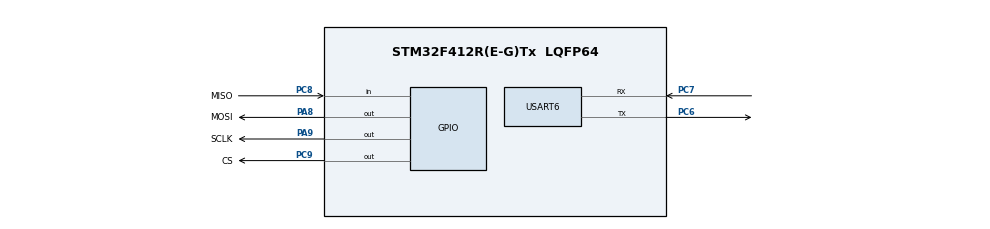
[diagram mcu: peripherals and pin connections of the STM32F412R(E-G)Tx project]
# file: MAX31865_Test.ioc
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Mcu.Family=STM32F4
Mcu.Name=STM32F412R(E-G)Tx
Mcu.Package=LQFP64
NVIC.PriorityGroup=NVIC_PRIORITYGROUP_4
PA13.Mode=Serial_Wire
PA13.Signal=SYS_JTMS-SWDIO
PA14.Mode=Serial_Wire
PA14.Signal=SYS_JTCK-SWCLK
PA8.GPIO_Label=MOSI
PA8.Signal=GPIO_Output
PA9.GPIO_Label=SCLK
PA9.Signal=GPIO_Output
PC6.Mode=Asynchronous
PC6.Signal=USART6_TX
PC7.Mode=Asynchronous
PC7.Signal=USART6_RX
PC8.GPIO_Label=MISO
PC8.Signal=GPIO_Input
PC9.GPIO_Label=CS
PC9.Signal=GPIO_Output
PH0\ -\ OSC_IN.Mode=HSE-External-Oscillator
PH0\ -\ OSC_IN.Signal=RCC_OSC_IN
PH1\ -\ OSC_OUT.Mode=HSE-External-Oscillator
PH1\ -\ OSC_OUT.Signal=RCC_OSC_OUT
ProjectManager.HeapSize=0x200
ProjectManager.StackSize=0x400
ProjectManager.TargetToolchain=STM32CubeIDE
RCC.CortexFreq_Value=16000000
RCC.USBFreq_Value=96000000
RCC.VCOOutputFreq_Value=192000000
USART6.VirtualMode=VM_ASYNC
board=custom

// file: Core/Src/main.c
/* USER CODE BEGIN Header */
/**
  ******************************************************************************
  * @file           : main.c
  * @brief          : Main program body
  ******************************************************************************
  * @attention
  *
  * Copyright (c) 2023 STMicroelectronics.
  * All rights reserved.
  *
  * This software is licensed under terms that can be found in the LICENSE file
  * in the root directory of this software component.
  * If no LICENSE file comes with this software, it is provided AS-IS.
  *
  ******************************************************************************
  */
/* USER CODE END Header */
#include "main.h"

/* USER CODE BEGIN Includes */
#include "MAX31865.h"
#include <stdio.h>
#include <string.h>
/* USER CODE END Includes */

/* USER CODE BEGIN PTD */
union USART_DATA
{
	char String[8];
	float Number;
}Data;
/* USER CODE END PTD */

UART_HandleTypeDef huart6;

void SystemClock_Config(void);
static void MX_GPIO_Init(void);
static void MX_USART6_UART_Init(void);
/* USER CODE BEGIN PFP */
MAX31865_GPIO *gpio;
/* USER CODE END PFP */

int main(void)
{

  /* MCU Configuration--------------------------------------------------------*/

  /* Reset of all peripherals, Initializes the Flash interface and the Systick. */
  HAL_Init();

  /* Configure the system clock */
  SystemClock_Config();

  /* Initialize all configured peripherals */
  MX_GPIO_Init();
  MX_USART6_UART_Init();
  /* USER CODE BEGIN 2 */
  gpio->CE_PIN = CS_Pin;
  gpio->CE_PORT = CS_GPIO_Port;

  gpio->CLK_PIN = SCLK_Pin;
  gpio->CLK_PORT = SCLK_GPIO_Port;

  gpio->MISO_PIN = MISO_Pin;
  gpio->MISO_PORT = MISO_GPIO_Port;

  gpio->MOSI_PIN = MOSI_Pin;
  gpio->MOSI_PORT = MOSI_GPIO_Port;

  MAX31865_init(gpio,3);
  HAL_UART_Init(&huart6);

  float Temperature = 0;
  /* USER CODE END 2 */
  char String[12];
  /* Infinite loop */
  while (1)
  {
	  Temperature = MAX31865_readTemp();
	  Data.Number = Temperature;

	  sprintf(String,"%f",Temperature);
	  HAL_UART_Transmit(&huart6,(uint8_t *)String,8,1000);
	  HAL_Delay(1000);
  }
}

void SystemClock_Config(void)
{
  RCC_OscInitTypeDef RCC_OscInitStruct = {0};
  RCC_ClkInitTypeDef RCC_ClkInitStruct = {0};

  /** Configure the main internal regulator output voltage
  */
  __HAL_RCC_PWR_CLK_ENABLE();
  __HAL_PWR_VOLTAGESCALING_CONFIG(PWR_REGULATOR_VOLTAGE_SCALE1);

  /** Initializes the RCC Oscillators according to the specified parameters
  * in the RCC_OscInitTypeDef structure.
  */
  RCC_OscInitStruct.OscillatorType = RCC_OSCILLATORTYPE_HSI;
  RCC_OscInitStruct.HSIState = RCC_HSI_ON;
  RCC_OscInitStruct.HSICalibrationValue = RCC_HSICALIBRATION_DEFAULT;
  RCC_OscInitStruct.PLL.PLLState = RCC_PLL_NONE;
  if (HAL_RCC_OscConfig(&RCC_OscInitStruct) != HAL_OK)
  {
    Error_Handler();
  }

  /** Initializes the CPU, AHB and APB buses clocks
  */
  RCC_ClkInitStruct.ClockType = RCC_CLOCKTYPE_HCLK|RCC_CLOCKTYPE_SYSCLK
                              |RCC_CLOCKTYPE_PCLK1|RCC_CLOCKTYPE_PCLK2;
  RCC_ClkInitStruct.SYSCLKSource = RCC_SYSCLKSOURCE_HSI;
  RCC_ClkInitStruct.AHBCLKDivider = RCC_SYSCLK_DIV1;
  RCC_ClkInitStruct.APB1CLKDivider = RCC_HCLK_DIV1;
  RCC_ClkInitStruct.APB2CLKDivider = RCC_HCLK_DIV1;

  if (HAL_RCC_ClockConfig(&RCC_ClkInitStruct, FLASH_LATENCY_0) != HAL_OK)
  {
    Error_Handler();
  }
}

static void MX_USART6_UART_Init(void)
{

  huart6.Instance = USART6;
  huart6.Init.BaudRate = 115200;
  huart6.Init.WordLength = UART_WORDLENGTH_8B;
  huart6.Init.StopBits = UART_STOPBITS_1;
  huart6.Init.Parity = UART_PARITY_NONE;
  huart6.Init.Mode = UART_MODE_TX_RX;
  huart6.Init.HwFlowCtl = UART_HWCONTROL_NONE;
  huart6.Init.OverSampling = UART_OVERSAMPLING_16;
  if (HAL_UART_Init(&huart6) != HAL_OK)
  {
    Error_Handler();
  }

}

static void MX_GPIO_Init(void)
{
  GPIO_InitTypeDef GPIO_InitStruct = {0};

  /* GPIO Ports Clock Enable */
  __HAL_RCC_GPIOH_CLK_ENABLE();
  __HAL_RCC_GPIOC_CLK_ENABLE();
  __HAL_RCC_GPIOA_CLK_ENABLE();

  /*Configure GPIO pin Output Level */
  HAL_GPIO_WritePin(CS_GPIO_Port, CS_Pin, GPIO_PIN_RESET);

  /*Configure GPIO pin Output Level */
  HAL_GPIO_WritePin(GPIOA, MOSI_Pin|SCLK_Pin, GPIO_PIN_RESET);

  /*Configure GPIO pin : MISO_Pin */
  GPIO_InitStruct.Pin = MISO_Pin;
  GPIO_InitStruct.Mode = GPIO_MODE_INPUT;
  GPIO_InitStruct.Pull = GPIO_NOPULL;
  HAL_GPIO_Init(MISO_GPIO_Port, &GPIO_InitStruct);

  /*Configure GPIO pin : CS_Pin */
  GPIO_InitStruct.Pin = CS_Pin;
  GPIO_InitStruct.Mode = GPIO_MODE_OUTPUT_PP;
  GPIO_InitStruct.Pull = GPIO_NOPULL;
  GPIO_InitStruct.Speed = GPIO_SPEED_FREQ_LOW;
  HAL_GPIO_Init(CS_GPIO_Port, &GPIO_InitStruct);

  /*Configure GPIO pins : MOSI_Pin SCLK_Pin */
  GPIO_InitStruct.Pin = MOSI_Pin|SCLK_Pin;
  GPIO_InitStruct.Mode = GPIO_MODE_OUTPUT_PP;
  GPIO_InitStruct.Pull = GPIO_NOPULL;
  GPIO_InitStruct.Speed = GPIO_SPEED_FREQ_LOW;
  HAL_GPIO_Init(GPIOA, &GPIO_InitStruct);

}

void Error_Handler(void)
{
  __disable_irq();
  while (1)
  {
  }
}
